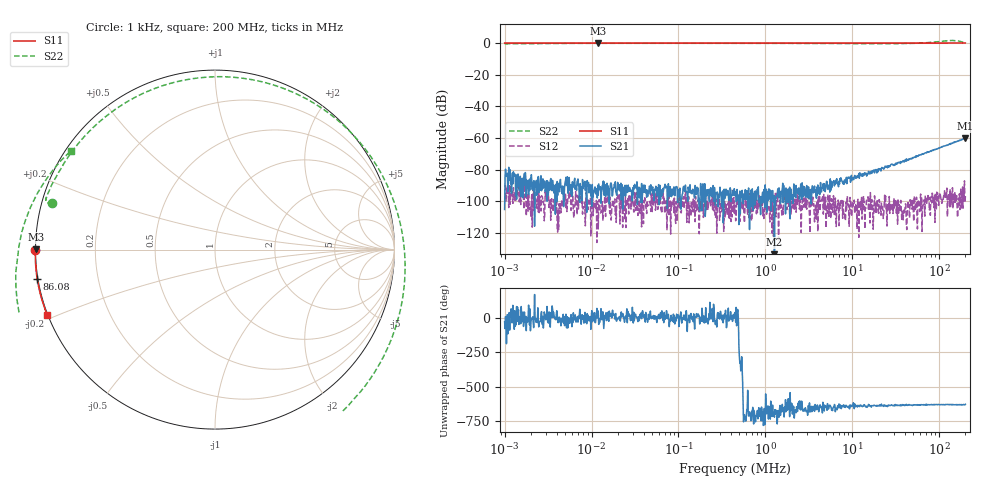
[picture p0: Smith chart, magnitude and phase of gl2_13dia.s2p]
! ListType=Log
# MHZ S RI R 50
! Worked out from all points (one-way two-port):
!   1000 points, 1 kHz to 200 MHz, reference 50 ohm
!   highest |S21| = -60.18 dB at 200 MHz (marker M1); lowest = -134.0 dB at 1.271 MHz (marker M2)
!   lowest |S11| = 0.0 dB at 11.95 kHz (marker M3), VSWR 898.23, Z = 0.0557 + j0.0219 ohm
!   |S11| at or under -10 dB: nowhere
!   |S22| runs from -0.5 to 1.7 dB; largest |S21 - S12| = 0.00099
!   S11 on the Smith chart (normalised r, x): 1 kHz: -0.00, +0.00; 86.08 MHz: -0.00, -0.08; 200 MHz: -0.00, -0.19
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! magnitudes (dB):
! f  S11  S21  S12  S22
! 1 kHz  0.0  -105.2  -89.9  -0.5
! 1.089 kHz  0.0  -93.8  -93.9  -0.5
! 7.694 kHz  0.0  -92.2  -101.3  -0.2
! 11.95 kHz  0.0  -96.1  -117.4  -0.1
! 58.48 kHz  0.0  -94.7  -102.4  -0.1
! 450 kHz  0.0  -96.6  -102.7  -0.2
! 1.271 MHz  0.0  -134.0  -103.6  -0.2
! 3.42 MHz  0.0  -92.6  -102.6  -0.2
! 18.69 MHz  0.0  -80.3  -101.8  -0.4
! 21.91 MHz  0.0  -78.6  -101.9  -0.4
! 23 MHz  0.0  -79.7  -107.8  -0.4
! 26.31 MHz  0.0  -77.6  -106.0  -0.4
! 27.97 MHz  0.0  -76.6  -102.2  -0.4
! 30.84 MHz  0.0  -77.0  -99.5  -0.4
! 33.19 MHz  0.0  -75.5  -114.4  -0.3
! 37.05 MHz  0.0  -75.3  -111.4  -0.3
! 52.8 MHz  0.0  -72.2  -102.8  -0.1
! 86.08 MHz  0.0  -67.4  -99.6  0.6
! 124.2 MHz  0.0  -64.4  -109.7  1.5
! 147.4 MHz  0.0  -62.6  -95.4  1.6
! 170.6 MHz  0.0  -61.4  -95.3  1.2
! 200 MHz  0.0  -60.2  -96.8  -0.2
